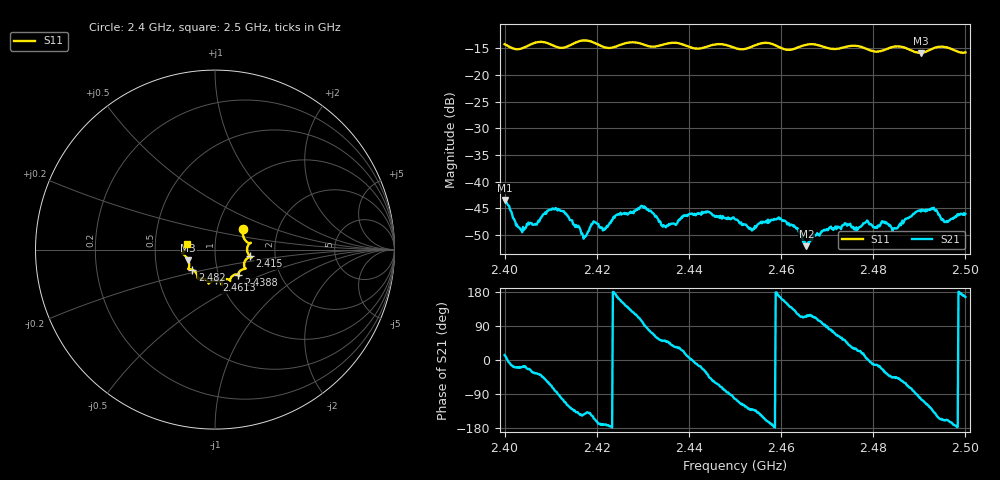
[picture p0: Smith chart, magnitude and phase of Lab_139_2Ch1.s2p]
# Hz S RI R 50
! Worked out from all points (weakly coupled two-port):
!   601 points, 2.4 GHz to 2.5 GHz, reference 50 ohm
!   highest |S21| = -43.41 dB at 2.4 GHz (marker M1); lowest = -52.1 dB at 2.4655 GHz (marker M2)
!   lowest |S11| = -15.9 dB at 2.4903 GHz (marker M3), VSWR 1.38, Z = 36.8 - j4.44 ohm
!   |S11| at or under -10 dB: start of sweep to end of sweep
!   S12 and S22 are empty: the file has one direction only
!   S11 on the Smith chart (normalised r, x): 2.4 GHz: 1.33, +0.31; 2.415 GHz: 1.47, -0.11; 2.4388 GHz: 1.24, -0.36; 2.4613 GHz: 0.96, -0.34; 2.482 GHz: 0.76, -0.17; 2.5 GHz: 0.72, +0.05
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2.4e9  0.1571 0.1124  0.00658 0.0015  0 0  0 0
2.403333e9  0.1647 0.058  0.00342 -0.00128  0 0  0 0
2.410667e9  0.1853 0.0246  0.00132 -0.00537  0 0  0 0
2.415e9  0.1929 -0.0365  -0.00277 -0.00289  0 0  0 0
2.416667e9  0.2038 -0.0442  -0.00269 -0.00182  0 0  0 0
2.429833e9  0.1609 -0.1085  -0.00119 0.0058  0 0  0 0
2.433333e9  0.1318 -0.1314  0.00244 0.00372  0 0  0 0
2.434667e9  0.1302 -0.1423  0.00246 0.00295  0 0  0 0
2.438833e9  0.1296 -0.1404  0.00438 0.00185  0 0  0 0
2.45e9  0.0688 -0.1647  -0.000979 -0.00434  0 0  0 0
2.453667e9  0.0356 -0.1802  -0.00225 -0.00268  0 0  0 0
2.461333e9  0.00794 -0.1711  -0.00336 0.00215  0 0  0 0
2.4655e9  -0.0344 -0.1882  -0.001 0.00229  0 0  0 0
2.466667e9  -0.0349 -0.1904  -0.00128 0.00254  0 0  0 0
2.473667e9  -0.0847 -0.16  0.00237 0.00316  0 0  0 0
2.482e9  -0.1259 -0.1116  0.00388 -0.0018  0 0  0 0
2.483333e9  -0.1398 -0.1089  0.00305 -0.0026  0 0  0 0
2.484667e9  -0.148 -0.109  0.00254 -0.00267  0 0  0 0
2.490333e9  -0.1492 -0.0587  -0.00118 -0.00513  0 0  0 0
2.493167e9  -0.1759 -0.0256  -0.00427 -0.0038  0 0  0 0
2.495833e9  -0.1802 -0.0174  -0.00388 -0.00157  0 0  0 0
2.5e9  -0.1588 0.0325  -0.00486 0.0012  0 0  0 0
